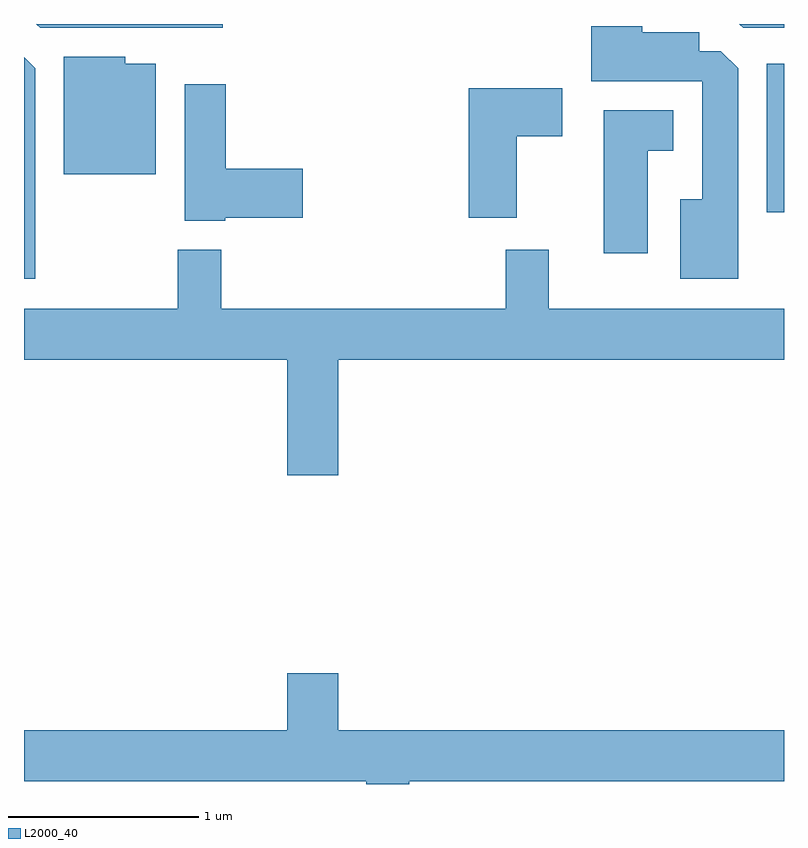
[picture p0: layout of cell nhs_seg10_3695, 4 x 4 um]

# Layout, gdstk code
import gdstk
lib = gdstk.Library(unit=1e-6, precision=1e-09)
def R(c, l, rs):  # rectangles x0, y0, x1, y1
    for r in rs: c.add(gdstk.rectangle(r[:2], r[2:], *l))
def P(c, l, *ps):  # polygons
    for p in ps: c.add(gdstk.Polygon(p, *l))
L2000_40 = (2000, 40)

nhs_seg10_3695 = lib.new_cell('nhs_seg10_3695')
R(nhs_seg10_3695, L2000_40, [(297.521,2163.531,297.611,2164.314)])
P(nhs_seg10_3695, L2000_40, [(294.658,2164.522),(293.676,2164.522),(293.697,2164.501),(294.658,2164.501)],
  [(297.611,2164.522),(297.376,2164.522),(297.397,2164.501),(297.611,2164.501)],
  [(297.369,2164.289),(297.279,2164.379),(297.164,2164.379),(297.164,2164.479),(296.864,2164.479),(296.864,2164.509),(296.596,2164.509),(296.596,2164.221),(297.181,2164.221),(297.181,2163.599),(297.066,2163.599),(297.066,2163.181),(297.369,2163.181)],
  [(294.304,2164.314),(294.144,2164.314),(294.144,2164.349),(293.821,2164.349),(293.821,2163.731),(294.304,2163.731)],
  [(293.669,2164.289),(293.611,2164.347),(293.611,2163.181),(293.669,2163.181)],
  [(294.67,2163.501),(295.079,2163.501),(295.079,2163.759),(294.674,2163.759),(294.674,2164.204),(294.456,2164.204),(294.456,2163.486),(294.67,2163.486)],
  [(296.204,2163.931),(296.444,2163.931),(296.444,2164.184),(295.951,2164.184),(295.951,2163.501),(296.204,2163.501)],
  [(296.894,2163.856),(297.029,2163.856),(297.029,2164.069),(296.661,2164.069),(296.661,2163.316),(296.894,2163.316)],
  [(295.264,2162.756),(297.611,2162.756),(297.611,2163.024),(296.374,2163.024),(296.374,2163.334),(296.146,2163.334),(296.146,2163.024),(294.649,2163.024),(294.649,2163.334),(294.421,2163.334),(294.421,2163.024),(293.611,2163.024),(293.611,2162.756),(294.996,2162.756),(294.996,2162.146),(295.264,2162.146)],
  [(295.639,2160.536),(297.611,2160.536),(297.611,2160.804),(295.264,2160.804),(295.264,2161.104),(294.996,2161.104),(294.996,2160.804),(293.611,2160.804),(293.611,2160.536),(295.411,2160.536),(295.411,2160.522),(295.639,2160.522)])

lib.write_gds('nhs_seg10_3695.gds')
